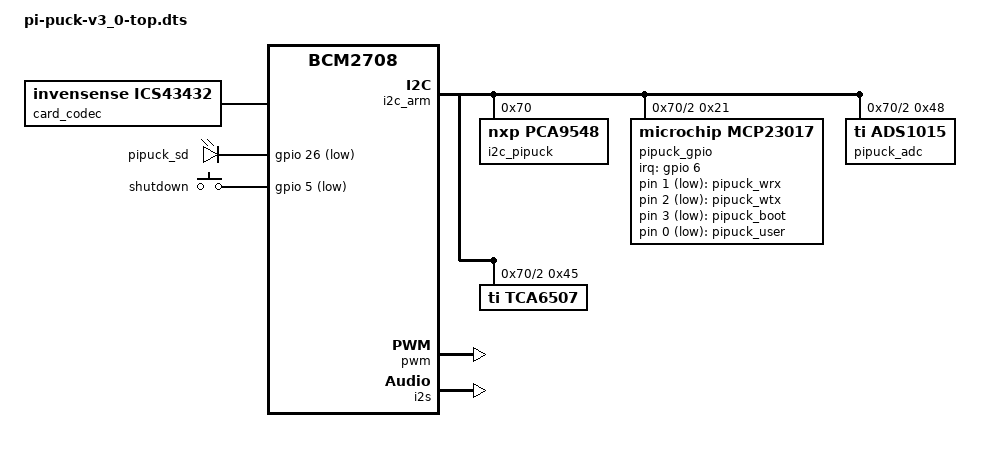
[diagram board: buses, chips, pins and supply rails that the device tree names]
/dts-v1/;
/plugin/;

/ {
	compatible = "brcm,bcm2708";

	/* I2C devices */
	fragment@0 {
		target = <&i2c_arm>;
		__overlay__ {
			#address-cells = <1>;
			#size-cells = <0>;
			status = "okay";
			i2c_pipuck: i2c-switch@70 {
				compatible = "nxp,pca9548";
				#address-cells = <1>;
				#size-cells = <0>;
				reg = <0x70>;
				i2c_pipuck_0: i2c@0 {
					#address-cells = <1>;
					#size-cells = <0>;
					reg = <0>;
					/* Sensor Board 1 */
				};
				i2c_pipuck_1: i2c@1 {
					#address-cells = <1>;
					#size-cells = <0>;
					reg = <1>;
					/* Sensor Board 2 */
				};
				i2c_pipuck_2: i2c@2 {
					#address-cells = <1>;
					#size-cells = <0>;
					reg = <2>;
					pipuck_gpio: gpio@21 {
						compatible = "microchip,mcp23017";
						gpio-controller;
						#gpio-cells = <2>;
						reg = <0x21>;
						interrupt-parent = <&gpio>;
						interrupts = <6 0x8>;
						interrupt-controller;
						#interrupt-cells = <2>;
						microchip,irq-mirror;
					};
					pipuck_adc: ads1015@48 {
						compatible = "ti,ads1015";
						reg = <0x48>;
						#address-cells = <1>;
						#size-cells = <0>;
						pipuck_ain0: channel@4 {
							reg = <4>;
							ti,gain = <0>;
							ti,datarate = <0>;
						};
						pipuck_ain1: channel@5 {
							reg = <5>;
							ti,gain = <0>;
							ti,datarate = <0>;
						};
					};
					tca6507@45 {
						compatible = "ti,tca6507";
						#address-cells = <1>;
						#size-cells = <0>;
						reg = <0x45>;
						led@0 {
							label = "pipuck_r1";
							reg = <0x0>;
						};
						led@1 {
							label = "pipuck_g1";
							reg = <0x1>;
						};
						led@2 {
							label = "pipuck_b1";
							reg = <0x2>;
						};
						led@3 {
							label = "pipuck_r2";
							reg = <0x3>;
						};
						led@4 {
							label = "pipuck_g2";
							reg = <0x4>;
						};
						led@5 {
							label = "pipuck_b2";
							reg = <0x5>;
						};
						led@6 {
							label = "pipuck_white";
							reg = <0x6>;
						};
					};
					/* Sensor Board 3 */
				};
				i2c_pipuck_3: i2c@3 {
					#address-cells = <1>;
					#size-cells = <0>;
					reg = <3>;
					/* Sensor Board 4 */
				};
				i2c_pipuck_4: i2c@4 {
					#address-cells = <1>;
					#size-cells = <0>;
					reg = <4>;
					/* Sensor Board 5 */
				};
				i2c_pipuck_5: i2c@5 {
					#address-cells = <1>;
					#size-cells = <0>;
					reg = <5>;
					/* Sensor Board 6 */
				};
				i2c_pipuck_6: i2c@6 {
					#address-cells = <1>;
					#size-cells = <0>;
					reg = <6>;
					/* e-puck */
					/* Sensor Board 7 */
				};
				i2c_pipuck_7: i2c@7 {
					#address-cells = <1>;
					#size-cells = <0>;
					reg = <7>;
					/* Sensor Board 8 */
				};
			};
		};
	};

	/* SD LED (on Raspberry Pi pin) */
	fragment@1 {
		target-path = "/soc";
		__overlay__ {
			pipuck_sd_led {
				compatible = "gpio-leds";
				pipuck_sd {
					label = "pipuck_sd";
					gpios = <&gpio 26 1>;
					linux,default-trigger = "mmc0";
				};
			};
		};
	};

	/* Status LEDs (on I2C) */
	fragment@2 {
		target-path = "/soc";
		__overlay__ {
			pipuck_status_leds {
				compatible = "gpio-leds";
				pipuck_wrx {
					label = "pipuck_wrx";
					gpios = <&pipuck_gpio 1 1>;
					linux,default-trigger = "phy0rx";
				};
				pipuck_wtx {
					label = "pipuck_wtx";
					gpios = <&pipuck_gpio 2 1>;
					linux,default-trigger = "phy0tx";
				};
				pipuck_boot {
					label = "pipuck_boot";
					gpios = <&pipuck_gpio 3 1>;
					linux,default-trigger = "heartbeat";
				};
				pipuck_user {
					label = "pipuck_user";
					gpios = <&pipuck_gpio 0 1>;
					linux,default-trigger = "none";
				};
			};
		};
	};

	/* DIP switch keys */
	fragment@3 {
		target-path = "/soc";
		__dormant__ {
			pipuck_dip_switch_keys {
				compatible = "gpio-keys";
				pipuck_sw1 {
					label = "pipuck_sw1";
					gpios = <&pipuck_gpio 4 1>; // SW1
					linux,code = <256>;
				};
				pipuck_sw2 {
					label = "pipuck_sw2";
					gpios = <&pipuck_gpio 5 1>; // SW2
					linux,code = <257>;
				};
				pipuck_sw3 {
					label = "pipuck_sw3";
					gpios = <&pipuck_gpio 6 1>; // SW3
					linux,code = <258>;
				};
				pipuck_sw4 {
					label = "pipuck_sw4";
					gpios = <&pipuck_gpio 7 1>; // SW4
					linux,code = <259>;
				};
			};
		};
	};

	/* Navigation switch keys */
	fragment@4 {
		target-path = "/soc";
		__dormant__ {
			pipuck_nav_switch_keys {
				compatible = "gpio-keys";
				pipuck_nav_up {
					label = "pipuck_nav_up";
					gpios = <&pipuck_gpio 8 1>; // UP
					linux,code = <103>; // KEY_UP
				};
				pipuck_nav_down {
					label = "pipuck_nav_down";
					gpios = <&pipuck_gpio 9 1>; // DOWN
					linux,code = <108>; // KEY_DOWN
				};
				pipuck_nav_left {
					label = "pipuck_nav_left";
					gpios = <&pipuck_gpio 10 1>; // LEFT
					linux,code = <105>; // KEY_LEFT
				};
				pipuck_nav_right {
					label = "pipuck_nav_right";
					gpios = <&pipuck_gpio 11 1>; // RIGHT
					linux,code = <106>; // KEY_RIGHT
				};
				pipuck_nav_centre {
					label = "pipuck_nav_centre";
					gpios = <&pipuck_gpio 12 1>; // CENTRE
					linux,code = <28>; // KEY_ENTER
				};
				pipuck_nav_sw1 {
					label = "pipuck_nav_sw1";
					gpios = <&pipuck_gpio 13 1>; // SW1
					linux,code = <30>; // KEY_A
				};
				pipuck_nav_sw2 {
					label = "pipuck_nav_sw2";
					gpios = <&pipuck_gpio 14 1>; // SW2
					linux,code = <48>; // KEY_B
				};
			};
		};
	};

	/* Shutdown button key */
	fragment@5 {
		target-path = "/soc";
		__overlay__ {
			pipuck_shutdown_key {
				compatible = "gpio-keys";
				pipuck_shutdown: pipuck_shutdown {
					label = "shutdown";
					linux,code = <116>; // KEY_POWER
					gpios = <&gpio 5 1>;
					debounce-interval = <1000>;
				};
			};
		};
	};

	/* Audio output */
	fragment@6 {
		target = <&gpio>;
		__overlay__ {
			pwm_pins: pwm_pins {
				brcm,pins = <12>;
				brcm,function = <4>; // Alt0
			};
			pipuck_audio_enable_pins: pipuck_audio_enable_pins {
				brcm,pins = <22>;
				brcm,function = <1>; // GPIO out
			};
		};
	};
	fragment@7 {
		target = <&pwm>;
		__overlay__ {
			pinctrl-names = "default";
			pinctrl-0 = <&pwm_pins &pipuck_audio_enable_pins>;
			status = "okay";
		};
	};

	/* Microphone audio input (based on https://www.raspberrypi.org/forums/viewtopic.php?t=173640) */
	fragment@8 {
		target = <&i2s>;
		__overlay__ {
			status = "okay";
		};
	};
	fragment@9 {
		target-path = "/";
		__overlay__ {
			card_codec: card-codec {
				#sound-dai-cells = <0>;
				compatible = "invensense,ics43432";
				status = "okay";
			};
		};
	};
	fragment@10 {
		target = <&sound>;
		slave_overlay: __overlay__ {
				compatible = "simple-audio-card";
				simple-audio-card,format = "i2s";
				simple-audio-card,name = "pi-puck_mic";
				status = "okay";
				simple-audio-card,cpu {
					sound-dai = <&i2s>;
				};
				dailink0_slave: simple-audio-card,codec {
					sound-dai = <&card_codec>;
				};
		};
	};

	/* Enable external ADC channels */
	fragment@11 {
		target = <&pipuck_adc>;
		__dormant__ {
			#address-cells = <1>;
			#size-cells = <0>;
			pipuck_ain2: channel@6 {
				reg = <6>;
				ti,gain = <2>;
				ti,datarate = <4>;
			};
		};
	};
	fragment@12 {
		target = <&pipuck_adc>;
		__dormant__ {
			#address-cells = <1>;
			#size-cells = <0>;
			pipuck_ain3: channel@7 {
				reg = <7>;
				ti,gain = <2>;
				ti,datarate = <4>;
			};
		};
	};

	fragment@13 {
		target = <&i2c_pipuck_2>;
		__dormant__ {
			#address-cells = <1>;
			#size-cells = <0>;
			ssd1306: oled@3c {
				compatible = "solomon,ssd1306fb-i2c";
				reg = <0x3c>;
				solomon,height = <16>;
				solomon,width = <96>;
				solomon,page-offset = <0>;
				solomon,com-lrremap;
				solomon,com-invdir;
				solomon,segment-no-remap;
				solomon,com-offset = <8>;
			};
		};
	};

	__overrides__ {
		dip_keys = <0>,"+3";
		nav_keys = <0>,"+4";
		shutdown_key_disable = <0>,"-5";
		shutdown_key_debounce = <&pipuck_shutdown>,"debounce-interval:0";
		ain2 = <0>,"+11";
		ain2_gain = <&pipuck_ain2>,"ti,gain:0";
		ain2_datarate = <&pipuck_ain2>,"ti,datarate:0";
		ain3 = <0>,"+12";
		ain3_gain = <&pipuck_ain3>,"ti,gain:0";
		ain3_datarate = <&pipuck_ain3>,"ti,datarate:0";
		oledfb = <0>,"+13";
	};
};
